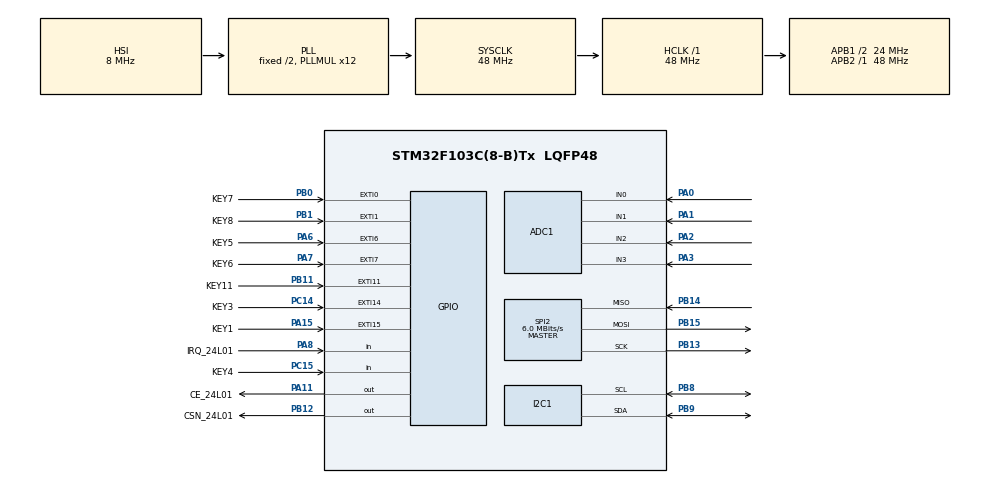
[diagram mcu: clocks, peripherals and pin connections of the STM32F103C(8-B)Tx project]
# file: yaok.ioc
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ADC1.Channel-0\#ChannelRegularConversion=ADC_CHANNEL_0
ADC1.Channel-2\#ChannelRegularConversion=ADC_CHANNEL_1
ADC1.Channel-3\#ChannelRegularConversion=ADC_CHANNEL_2
ADC1.Channel-4\#ChannelRegularConversion=ADC_CHANNEL_3
ADC1.ContinuousConvMode=ENABLE
ADC1.ExternalTrigConv=ADC_SOFTWARE_START
ADC1.NbrOfConversion=4
ADC1.NbrOfConversionFlag=1
ADC1.Rank-0\#ChannelRegularConversion=1
ADC1.Rank-2\#ChannelRegularConversion=2
ADC1.Rank-3\#ChannelRegularConversion=3
ADC1.Rank-4\#ChannelRegularConversion=4
ADC1.SamplingTime-0\#ChannelRegularConversion=ADC_SAMPLETIME_239CYCLES_5
ADC1.SamplingTime-2\#ChannelRegularConversion=ADC_SAMPLETIME_239CYCLES_5
ADC1.SamplingTime-3\#ChannelRegularConversion=ADC_SAMPLETIME_239CYCLES_5
ADC1.SamplingTime-4\#ChannelRegularConversion=ADC_SAMPLETIME_239CYCLES_5
ADC1.master=1
Dma.ADC1.0.Direction=DMA_PERIPH_TO_MEMORY
Dma.ADC1.0.Instance=DMA1_Channel1
Dma.ADC1.0.MemDataAlignment=DMA_MDATAALIGN_HALFWORD
Dma.ADC1.0.MemInc=DMA_MINC_ENABLE
Dma.ADC1.0.Mode=DMA_CIRCULAR
Dma.ADC1.0.PeriphDataAlignment=DMA_PDATAALIGN_HALFWORD
Dma.ADC1.0.PeriphInc=DMA_PINC_DISABLE
Dma.ADC1.0.Priority=DMA_PRIORITY_LOW
Dma.Request0=ADC1
Mcu.Family=STM32F1
Mcu.Name=STM32F103C(8-B)Tx
Mcu.Package=LQFP48
NVIC.DMA1_Channel1_IRQn=true\:0\:0\:false\:false\:true\:false\:true\:true
NVIC.EXTI0_IRQn=true\:0\:0\:false\:false\:true\:true\:true\:true
NVIC.EXTI15_10_IRQn=true\:0\:0\:false\:false\:true\:true\:true\:true
NVIC.EXTI1_IRQn=true\:0\:0\:false\:false\:true\:true\:true\:true
NVIC.EXTI9_5_IRQn=true\:0\:0\:false\:false\:true\:true\:true\:true
NVIC.PriorityGroup=NVIC_PRIORITYGROUP_4
PA0-WKUP.Signal=ADCx_IN0
PA1.Signal=ADCx_IN1
PA11.GPIO_Label=CE_24L01
PA11.GPIO_Speed=GPIO_SPEED_FREQ_HIGH
PA11.PinState=GPIO_PIN_RESET
PA11.Signal=GPIO_Output
PA13.Mode=Serial_Wire
PA13.Signal=SYS_JTMS-SWDIO
PA14.Mode=Serial_Wire
PA14.Signal=SYS_JTCK-SWCLK
PA15.GPIO_Label=KEY1
PA15.GPIO_ModeDefaultEXTI=GPIO_MODE_IT_FALLING
PA15.GPIO_PuPd=GPIO_PULLUP
PA15.Signal=GPXTI15
PA2.Signal=ADCx_IN2
PA3.Signal=ADCx_IN3
PA6.GPIO_Label=KEY5
PA6.GPIO_ModeDefaultEXTI=GPIO_MODE_IT_FALLING
PA6.GPIO_PuPd=GPIO_PULLUP
PA6.Signal=GPXTI6
PA7.GPIO_Label=KEY6
PA7.GPIO_ModeDefaultEXTI=GPIO_MODE_IT_FALLING
PA7.GPIO_PuPd=GPIO_PULLUP
PA7.Signal=GPXTI7
PA8.GPIO_Label=IRQ_24L01
PA8.GPIO_PuPd=GPIO_PULLUP
PA8.Signal=GPIO_Input
PB0.GPIO_Label=KEY7
PB0.GPIO_ModeDefaultEXTI=GPIO_MODE_IT_FALLING
PB0.GPIO_PuPd=GPIO_PULLUP
PB0.Signal=GPXTI0
PB1.GPIO_Label=KEY8
PB1.GPIO_ModeDefaultEXTI=GPIO_MODE_IT_FALLING
PB1.GPIO_PuPd=GPIO_PULLUP
PB1.Signal=GPXTI1
PB11.GPIO_Label=KEY11
PB11.GPIO_ModeDefaultEXTI=GPIO_MODE_IT_FALLING
PB11.GPIO_PuPd=GPIO_PULLUP
PB11.Signal=GPXTI11
PB12.GPIO_Label=CSN_24L01
PB12.GPIO_Speed=GPIO_SPEED_FREQ_HIGH
PB12.PinState=GPIO_PIN_SET
PB12.Signal=GPIO_Output
PB13.Mode=Full_Duplex_Master
PB13.Signal=SPI2_SCK
PB14.Mode=Full_Duplex_Master
PB14.Signal=SPI2_MISO
PB15.Mode=Full_Duplex_Master
PB15.Signal=SPI2_MOSI
PB8.Mode=I2C
PB8.Signal=I2C1_SCL
PB9.Mode=I2C
PB9.Signal=I2C1_SDA
PC14-OSC32_IN.GPIO_Label=KEY3
PC14-OSC32_IN.GPIO_ModeDefaultEXTI=GPIO_MODE_IT_FALLING
PC14-OSC32_IN.GPIO_PuPd=GPIO_PULLUP
PC14-OSC32_IN.Signal=GPXTI14
PC15-OSC32_OUT.GPIO_Label=KEY4
PC15-OSC32_OUT.GPIO_PuPd=GPIO_PULLUP
PC15-OSC32_OUT.Signal=GPIO_Input
PD0-OSC_IN.Mode=HSE-External-Clock-Source
PD0-OSC_IN.Signal=RCC_OSC_IN
PD1-OSC_OUT.Mode=HSE-External-Clock-Source
PD1-OSC_OUT.Signal=RCC_OSC_OUT
ProjectManager.HeapSize=0x800
ProjectManager.StackSize=0x800
ProjectManager.TargetToolchain=MDK-ARM V5.32
RCC.ADCPresc=RCC_ADCPCLK2_DIV4
RCC.AHBFreq_Value=48000000
RCC.APB1CLKDivider=RCC_HCLK_DIV2
RCC.APB1Freq_Value=24000000
RCC.APB1TimFreq_Value=48000000
RCC.APB2Freq_Value=48000000
RCC.APB2TimFreq_Value=48000000
RCC.HCLKFreq_Value=48000000
RCC.PLLMUL=RCC_PLL_MUL12
RCC.SYSCLKFreq_VALUE=48000000
RCC.SYSCLKSource=RCC_SYSCLKSOURCE_PLLCLK
RCC.USBFreq_Value=48000000
SH.ADCx_IN0.0=ADC1_IN0,IN0
SH.ADCx_IN1.0=ADC1_IN1,IN1
SH.ADCx_IN2.0=ADC1_IN2,IN2
SH.ADCx_IN3.0=ADC1_IN3,IN3
SPI2.BaudRatePrescaler=SPI_BAUDRATEPRESCALER_4
SPI2.CalculateBaudRate=6.0 MBits/s
SPI2.Direction=SPI_DIRECTION_2LINES
SPI2.Mode=SPI_MODE_MASTER
SPI2.VirtualType=VM_MASTER
board=custom

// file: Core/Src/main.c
/* USER CODE BEGIN Header */
/**
  ******************************************************************************
  * @file           : main.c
  * @brief          : Main program body
  ******************************************************************************
  * @attention
  *
  * Copyright (c) 2024 STMicroelectronics.
  * All rights reserved.
  *
  * This software is licensed under terms that can be found in the LICENSE file
  * in the root directory of this software component.
  * If no LICENSE file comes with this software, it is provided AS-IS.
  *
  ******************************************************************************
  */
/* USER CODE END Header */
#include "main.h"
#include "adc.h"
#include "dma.h"
#include "i2c.h"
#include "spi.h"
#include "gpio.h"

/* USER CODE BEGIN Includes */
#include "oled.h"
#include "NF.h"
#include "math.h"
#define PI 3.14159265
/* USER CODE END Includes */

/* USER CODE BEGIN PV */
 uint16_t ADC_Value;
    uint16_t  adc_buff[4];
/* USER CODE END PV */

void SystemClock_Config(void);
/* USER CODE BEGIN PFP */
extern unsigned char INIT_ADDR[5]= {0x00,0x1A,0xB1,0xB1,0x01}; //�ڵ��ַ
/* USER CODE END PFP */

/* USER CODE BEGIN 0 */
       int k=1;
int c=1;
int key3=0;
int key1=32;//配置按键8按下进行下一步操作
int key8=32;//配置按键8按下进行下一步操作
int key5=0;
int key7=0;
int key2=0;
uint8_t array[32] ; //第一位接收不到
int yaw1=0;
int yaw2=0;
int key6=0, key6_stuas=0;
float yaw=0;

/* USER CODE END 0 */

int main(void)
{

  /* MCU Configuration--------------------------------------------------------*/

  /* Reset of all peripherals, Initializes the Flash interface and the Systick. */
  HAL_Init();

  /* USER CODE BEGIN Init */

  /* USER CODE END In	it */

  /* Configure the system clock */
  SystemClock_Config();

  /* Initialize all configured peripherals */
  MX_GPIO_Init();
  MX_DMA_Init();
  MX_I2C1_Init();
  MX_ADC1_Init();
  MX_SPI2_Init();
  /* USER CODE BEGIN 2 */

   while(NRF24L01_Check())
	{

		k=0;
 		HAL_Delay(1000);
	}

	 OLED_Init();

   NRF24L01_TX_Mode();//设置为发送模式

  /* USER CODE END 2 */

  /* Infinite loop */
  while (1)
  {

    /* USER CODE BEGIN 3 */
	  k++;

		HAL_ADC_Start_DMA(&hadc1, (uint32_t *)adc_buff, 4);

	if(key6==1){array[27]=1;key6_stuas=1; HAL_Delay(2); }
		if(key6==0){array[27]=0;}

     if(key6_stuas==1){if(NRF24L01_TxPacket(array)==TX_OK)
    {
      c=3;
    }
    else
    {
        c=2;
    } }

		if(key1==1&&key2==0&&key5==0&&key7==0){array[28]=1;}
	    if(key1==0&&key2==1&&key5==0&&key7==0){array[28]=2;}
		if(key5==1&&key7==0&&key1==0&&key2==0){array[28]=3;}
		if(key7==1&&key5==0&&key1==0&&key2==0){array[28]=4;}
	   if(key3==1){
		array[30]=7;

	  for(int g=0;g<=4;g++)
	  {

		  array[g+1] = adc_buff[g]/20;

	  }
	     HAL_Delay(2);

      if(NRF24L01_TxPacket(array)==TX_OK)
    {
      c=3;
    }
    else
    {
        c=2;
    }

		}

	  if(key8==1){
		array[30]=6;
	  for(int g=0;g<=4;g++)
	  {

		  array[g+1] = adc_buff[g]/20;

	  }
	     HAL_Delay(2);

      if(NRF24L01_TxPacket(array)==TX_OK)
    {
      c=3;
    }
    else
    {
        c=2;
    }

		}

  }

  /* USER CODE END 3 */
}

void SystemClock_Config(void)
{
  RCC_OscInitTypeDef RCC_OscInitStruct = {0};
  RCC_ClkInitTypeDef RCC_ClkInitStruct = {0};
  RCC_PeriphCLKInitTypeDef PeriphClkInit = {0};

  /** Initializes the RCC Oscillators according to the specified parameters
  * in the RCC_OscInitTypeDef structure.
  */
  RCC_OscInitStruct.OscillatorType = RCC_OSCILLATORTYPE_HSI;
  RCC_OscInitStruct.HSIState = RCC_HSI_ON;
  RCC_OscInitStruct.HSICalibrationValue = RCC_HSICALIBRATION_DEFAULT;
  RCC_OscInitStruct.PLL.PLLState = RCC_PLL_ON;
  RCC_OscInitStruct.PLL.PLLSource = RCC_PLLSOURCE_HSI_DIV2;
  RCC_OscInitStruct.PLL.PLLMUL = RCC_PLL_MUL12;
  if (HAL_RCC_OscConfig(&RCC_OscInitStruct) != HAL_OK)
  {
    Error_Handler();
  }

  /** Initializes the CPU, AHB and APB buses clocks
  */
  RCC_ClkInitStruct.ClockType = RCC_CLOCKTYPE_HCLK|RCC_CLOCKTYPE_SYSCLK
                              |RCC_CLOCKTYPE_PCLK1|RCC_CLOCKTYPE_PCLK2;
  RCC_ClkInitStruct.SYSCLKSource = RCC_SYSCLKSOURCE_PLLCLK;
  RCC_ClkInitStruct.AHBCLKDivider = RCC_SYSCLK_DIV1;
  RCC_ClkInitStruct.APB1CLKDivider = RCC_HCLK_DIV2;
  RCC_ClkInitStruct.APB2CLKDivider = RCC_HCLK_DIV1;

  if (HAL_RCC_ClockConfig(&RCC_ClkInitStruct, FLASH_LATENCY_1) != HAL_OK)
  {
    Error_Handler();
  }
  PeriphClkInit.PeriphClockSelection = RCC_PERIPHCLK_ADC;
  PeriphClkInit.AdcClockSelection = RCC_ADCPCLK2_DIV4;
  if (HAL_RCCEx_PeriphCLKConfig(&PeriphClkInit) != HAL_OK)
  {
    Error_Handler();
  }
}

/* USER CODE BEGIN 4 */
void HAL_DMA_ConcludeCallback(DMA_HandleTypeDef *hdma)
{
    if(hdma->Instance == DMA1_Channel1)
    {
		     OLED_ShowNum(0,0,3,4,16);
         HAL_ADC_Stop_DMA(&hadc1);
    }
}
void delay_us(uint32_t udelay)
{
  uint32_t startval,tickn,delays,wait;

  startval = SysTick->VAL;
  tickn = HAL_GetTick();
  //sysc = 72000;  //SystemCoreClock / (1000U / uwTickFreq);
  delays =udelay * 48; //sysc / 1000 * udelay;
  if(delays > startval)
    {
      while(HAL_GetTick() == tickn)
        {

        }
      wait = 48000 + startval - delays;
      while(wait < SysTick->VAL)
        {

        }
    }
  else
    {
      wait = startval - delays;
      while(wait < SysTick->VAL && HAL_GetTick() == tickn)
        {

        }
    }
}
//按键中断

void HAL_GPIO_EXTI_Callback(uint16_t GPIO_Pin)
{
	if(GPIO_Pin==KEY1_Pin)
  {
	  if(HAL_GPIO_ReadPin(KEY1_GPIO_Port,KEY1_Pin)==GPIO_PIN_RESET)
    {
	   key1=1;
		key2=0;
		key5=0;
		key7=0;
	}
	__HAL_GPIO_EXTI_CLEAR_IT(KEY1_Pin);
  }
	 if(GPIO_Pin==KEY11_Pin)
  {
	  if(HAL_GPIO_ReadPin(KEY11_GPIO_Port,KEY11_Pin)==GPIO_PIN_RESET)
    {
	   key1=0;
		key2=1;
		key5=0;
		key7=0;
	}
	__HAL_GPIO_EXTI_CLEAR_IT(KEY11_Pin);
  }
	if(GPIO_Pin==KEY3_Pin)
  {
	  if(HAL_GPIO_ReadPin(KEY3_GPIO_Port,KEY3_Pin)==GPIO_PIN_RESET)
    {
	    key3=1;
	   key8=0;
	}
	__HAL_GPIO_EXTI_CLEAR_IT(KEY3_Pin);

  }
  if(GPIO_Pin==KEY8_Pin)
  {

    if(HAL_GPIO_ReadPin(KEY8_GPIO_Port,KEY8_Pin)==GPIO_PIN_RESET)
    {

	key8=1;
	key3=0;

    }
    __HAL_GPIO_EXTI_CLEAR_IT(KEY8_Pin);
  }
   if(GPIO_Pin==KEY5_Pin)
  {

    if(HAL_GPIO_ReadPin(KEY5_GPIO_Port,KEY5_Pin)==GPIO_PIN_RESET)
    {
     key1=0;
		key2=0;
	key5=1;
	key7=0;
    }
    __HAL_GPIO_EXTI_CLEAR_IT(KEY5_Pin);
  }
   if(GPIO_Pin==KEY7_Pin)
  {

    if(HAL_GPIO_ReadPin(KEY7_GPIO_Port,KEY7_Pin)==GPIO_PIN_RESET)
    {
			key1=0;
			key2=0;
			key5=0;
			key7=1;

    }
    __HAL_GPIO_EXTI_CLEAR_IT(KEY7_Pin);
  }

   if(GPIO_Pin==KEY6_Pin)
  {

    if(HAL_GPIO_ReadPin(KEY6_GPIO_Port,KEY6_Pin)==GPIO_PIN_RESET)
    {
		// key6++;
			if(key6==0){key6=1;}
			else if(key6==1){key6=0;}

    }
    __HAL_GPIO_EXTI_CLEAR_IT(KEY6_Pin);
  }

}
/* USER CODE END 4 */

void Error_Handler(void)
{
  __disable_irq();
  while (1)
  {
  }
}
